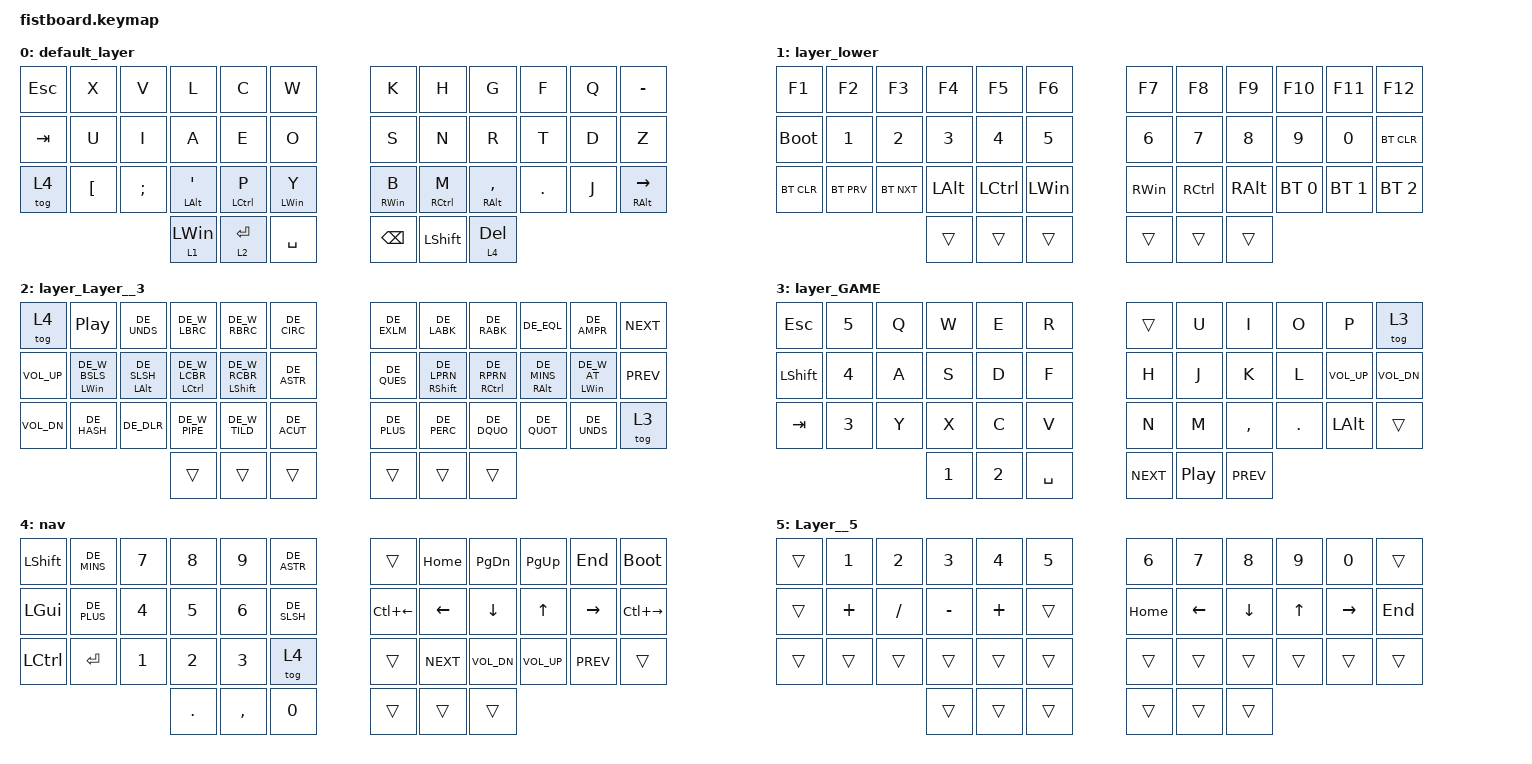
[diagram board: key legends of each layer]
/*
 * Copyright (c) 2020 The ZMK Contributors
 *
 * SPDX-License-Identifier: MIT
 */

#include <behaviors.dtsi>
#include "german-keymap.h"
#include <dt-bindings/zmk/bt.h>
#include <dt-bindings/zmk/keys.h>

&mt {
    tapping-term-ms = <500>;
};

/ {
    behaviors {
        as: auto_shift {
            compatible = "zmk,behavior-hold-tap";
            label = "AUTO_SHIFT";
            #binding-cells = <2>;
            tapping_term_ms = <150>;
            quick_tap_ms = <0>;
            flavor = "tap-preferred";
            bindings = <&kp>, <&kp>;
        };
        hm: homerow_mods {
            compatible = "zmk,behavior-hold-tap";
            label = "HOMEROW_MODS";
            #binding-cells = <2>;
            tapping-term-ms = <150>;
            quick-tap-ms = <200>;
            retro-tap;
            flavor = "tap-preferred";
            bindings = <&kp>, <&kp>;

            require-prior-idle-ms = <125>;
        };
        lh_pht: left_hand_positional_hold_tap {
            compatible = "zmk,behavior-hold-tap";
            label = "POSITIONAL_HOLD_TAP_LEFT";
            #binding-cells = <2>;
            flavor = "tap-unless-interrupted";
            tapping-term-ms = <160>;// <---[[produces tap if held longer than tapping-term-ms]]
            quick-tap-ms = <200>;
            bindings = <&kp>, <&kp>;

            hold-trigger-key-positions = <6 7 8 9 10 11 18 19 20 21 22 23 30 31 32 33 34 35>;// <---[[right-hand keys]]
        };
        rh_pht: right_hand_positional_hold_tap {
            compatible = "zmk,behavior-hold-tap";
            label = "POSITIONAL_HOLD_TAP_RIGHT";
            #binding-cells = <2>;
            flavor = "tap-unless-interrupted";
            tapping-term-ms = <160>;// <---[[produces tap if held longer than tapping-term-ms]]
            quick-tap-ms = <200>;
            bindings = <&kp>, <&kp>;

            hold-trigger-key-positions = <0 1 2 3 4 5 12 13 14 15 16 17 24 25 26 27 28 29>;// <---[[left-hand keys]]
        };
        ctl_pht: right_control_positional_hold_tap {
            compatible = "zmk,behavior-hold-tap";
            label = "POSITIONAL_HOLD_TAP_Control";
            #binding-cells = <2>;
            flavor = "balanced";
            tapping-term-ms = <100>;// <---[[produces tap if held longer than tapping-term-ms]]
            quick-tap-ms = <200>;
            bindings = <&kp>, <&kp>;

            hold-trigger-key-positions = <39>;// <---[[ctl keys]]
        };
    };

    keymap {
        compatible = "zmk,keymap";

        default_layer {
            bindings = <
&kp ESC  &kp X             &kp V          &kp L                  &kp C        &kp W         &kp K          &kp H           &kp G           &kp F    &kp Q  &kp MINUS
&kp TAB  &kp U             &kp I          &kp A                  &kp E        &kp O         &kp S          &kp N           &kp R           &kp T    &kp D  &kp Z
&tog 4   &kp LEFT_BRACKET  &kp SEMICOLON  &hm LALT SINGLE_QUOTE  &hm LCTRL P  &hm LWIN Y    &hm RWIN B     &hm RCTRL M     &hm RALT COMMA  &kp DOT  &kp J  &mt RALT RIGHT
                                          &lt 1 LEFT_WIN         &lt 2 ENTER  &kp SPACE     &kp BACKSPACE  &kp LEFT_SHIFT  &lt 4 DEL
            >;
        };

        layer_lower {
            bindings = <
&kp F1       &kp F2      &kp F3      &kp F4    &kp F5     &kp F6          &kp F7         &kp F8     &kp F9    &kp F10       &kp F11       &kp F12
&bootloader  &kp N1      &kp N2      &kp N3    &kp N4     &kp N5          &kp N6         &kp N7     &kp N8    &kp N9        &kp N0        &bt BT_CLR
&bt BT_CLR   &bt BT_PRV  &bt BT_NXT  &kp LALT  &kp LCTRL  &kp LEFT_WIN    &kp RIGHT_WIN  &kp RCTRL  &kp RALT  &bt BT_SEL 0  &bt BT_SEL 1  &bt BT_SEL 2
                                     &trans    &trans     &trans          &trans         &trans     &trans
            >;
        };

        layer_Layer__3 {
            bindings = <
&tog 4        &kp C_PLAY_PAUSE    &kp DE_UNDS           &kp DE_W_LBRC               &kp DE_W_RBRC             &kp DE_CIRC    &kp DE_EXLM  &kp DE_LABK              &kp DE_RABK                &kp DE_EQL             &kp DE_AMPR       &kp C_NEXT
&kp C_VOL_UP  &hm LWIN DE_W_BSLS  &mt LEFT_ALT DE_SLSH  &mt LEFT_CONTROL DE_W_LCBR  &mt LEFT_SHIFT DE_W_RCBR  &kp DE_ASTR    &kp DE_QUES  &mt RIGHT_SHIFT DE_LPRN  &mt RIGHT_CONTROL DE_RPRN  &mt RIGHT_ALT DE_MINS  &hm LWIN DE_W_AT  &kp C_PREV
&kp C_VOL_DN  &kp DE_HASH         &kp DE_DLR            &kp DE_W_PIPE               &kp DE_W_TILD             &kp DE_ACUT    &kp DE_PLUS  &kp DE_PERC              &kp DE_DQUO                &kp DE_QUOT            &kp DE_UNDS       &tog 3
                                                        &trans                      &trans                    &trans         &trans       &trans                   &trans
            >;
        };

        layer_GAME {
            bindings = <
&kp ESC         &kp N5  &kp Q  &kp W   &kp E   &kp R        &trans      &kp U             &kp I       &kp O    &kp P         &tog 3
&kp LEFT_SHIFT  &kp N4  &kp A  &kp S   &kp D   &kp F        &kp H       &kp J             &kp K       &kp L    &kp C_VOL_UP  &kp C_VOL_DN
&kp TAB         &kp N3  &kp Y  &kp X   &kp C   &kp V        &kp N       &kp M             &kp COMMA   &kp DOT  &kp LALT      &trans
                               &kp N1  &kp N2  &kp SPACE    &kp C_NEXT  &kp C_PLAY_PAUSE  &kp C_PREV
            >;
        };

        nav {
            bindings = <
&kp LEFT_SHIFT  &kp DE_MINS  &kp NUMBER_7  &kp NUMBER_8  &kp NUMBER_9  &kp DE_ASTR    &trans        &kp HOME    &kp PG_DN     &kp PG_UP     &kp END     &bootloader
&kp LGUI        &kp DE_PLUS  &kp NUMBER_4  &kp NUMBER_5  &kp NUMBER_6  &kp DE_SLSH    &kp LC(LEFT)  &kp LEFT    &kp DOWN      &kp UP        &kp RIGHT   &kp LC(RIGHT)
&kp LCTRL       &kp ENTER    &kp NUMBER_1  &kp NUMBER_2  &kp NUMBER_3  &tog 4         &trans        &kp C_NEXT  &kp C_VOL_DN  &kp C_VOL_UP  &kp C_PREV  &trans
                                           &kp DOT       &kp COMMA     &kp N0         &trans        &trans      &trans
            >;
        };

        Layer__5 {
            bindings = <
&trans  &kp N1    &kp N2     &kp N3     &kp N4    &kp N5    &kp NUMBER_6  &kp N7    &kp N8    &kp N9  &kp N0     &trans
&trans  &kp PLUS  &kp SLASH  &kp MINUS  &kp PLUS  &trans    &kp HOME      &kp LEFT  &kp DOWN  &kp UP  &kp RIGHT  &kp END
&trans  &trans    &trans     &trans     &trans    &trans    &trans        &trans    &trans    &trans  &trans     &trans
                             &trans     &trans    &trans    &trans        &trans    &trans
            >;
        };
    };
};
